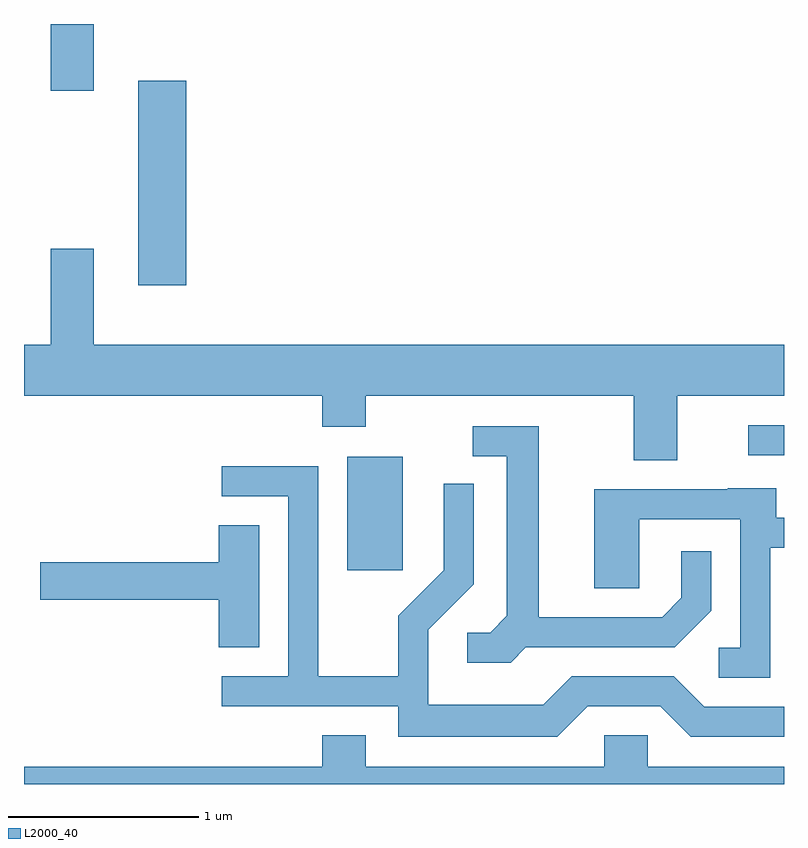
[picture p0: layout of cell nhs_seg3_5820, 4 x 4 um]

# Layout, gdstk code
import gdstk
lib = gdstk.Library(unit=1e-6, precision=1e-09)
def R(c, l, rs):  # rectangles x0, y0, x1, y1
    for r in rs: c.add(gdstk.rectangle(r[:2], r[2:], *l))
def P(c, l, *ps):  # polygons
    for p in ps: c.add(gdstk.Polygon(p, *l))
L2000_40 = (2000, 40)

nhs_seg3_5820 = lib.new_cell('nhs_seg3_5820')
R(nhs_seg3_5820, L2000_40, [(357.311,1205.016,357.604,1205.614), (359.423,1205.621,359.611,1205.779), (356.211,1206.516,356.464,1207.594), (355.751,1207.541,355.979,1207.892)])
P(nhs_seg3_5820, L2000_40, [(359.049,1205.936),(359.611,1205.936),(359.611,1206.204),(355.979,1206.204),(355.979,1206.709),(355.751,1206.709),(355.751,1206.204),(355.611,1206.204),(355.611,1205.936),(357.181,1205.936),(357.181,1205.771),(357.409,1205.771),(357.409,1205.936),(358.821,1205.936),(358.821,1205.596),(359.049,1205.596)],
  [(358.252,1204.611),(359.037,1204.611),(359.229,1204.804),(359.229,1205.118),(359.071,1205.118),(359.071,1204.872),(358.969,1204.769),(358.319,1204.769),(358.319,1205.774),(357.973,1205.774),(357.973,1205.616),(358.151,1205.616),(358.151,1204.777),(358.064,1204.689),(357.943,1204.689),(357.943,1204.531),(358.172,1204.531)],
  [(358.577,1204.301),(358.959,1204.301),(359.119,1204.141),(359.611,1204.141),(359.611,1204.299),(359.192,1204.299),(359.032,1204.459),(358.494,1204.459),(358.344,1204.309),(357.739,1204.309),(357.739,1204.704),(357.979,1204.944),(357.979,1205.473),(357.821,1205.473),(357.821,1205.017),(357.581,1204.777),(357.581,1204.459),(357.159,1204.459),(357.159,1205.564),(356.653,1205.564),(356.653,1205.406),(357.001,1205.406),(357.001,1204.459),(356.653,1204.459),(356.653,1204.301),(357.581,1204.301),(357.581,1204.141),(358.417,1204.141)],
  [(359.539,1205.136),(359.611,1205.136),(359.611,1205.294),(359.569,1205.294),(359.569,1205.449),(359.315,1205.449),(359.315,1205.444),(358.611,1205.444),(358.611,1204.921),(358.849,1204.921),(358.849,1205.286),(359.381,1205.286),(359.381,1204.609),(359.268,1204.609),(359.268,1204.451),(359.539,1204.451)],
  [(356.849,1205.254),(356.636,1205.254),(356.636,1205.059),(355.696,1205.059),(355.696,1204.861),(356.636,1204.861),(356.636,1204.611),(356.849,1204.611)],
  [(359.611,1203.984),(358.894,1203.984),(358.894,1204.149),(358.666,1204.149),(358.666,1203.984),(357.409,1203.984),(357.409,1204.149),(357.181,1204.149),(357.181,1203.984),(355.611,1203.984),(355.611,1203.892),(359.611,1203.892)])

lib.write_gds('nhs_seg3_5820.gds')
